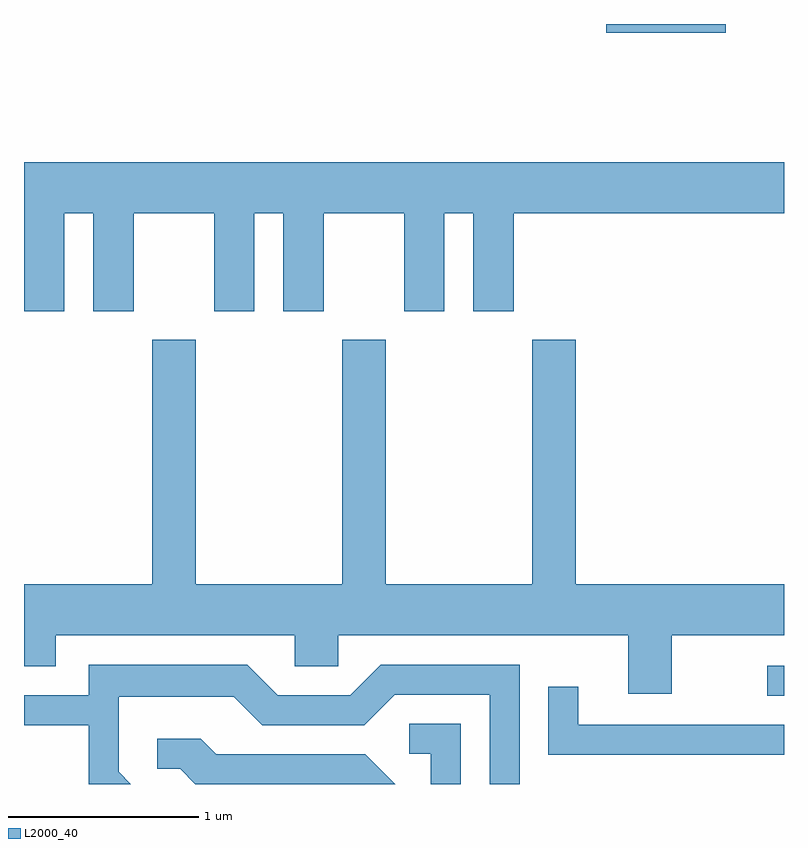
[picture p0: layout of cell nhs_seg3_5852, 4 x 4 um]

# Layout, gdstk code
import gdstk
lib = gdstk.Library(unit=1e-6, precision=1e-09)
def R(c, l, rs):  # rectangles x0, y0, x1, y1
    for r in rs: c.add(gdstk.rectangle(r[:2], r[2:], *l))
def P(c, l, *ps):  # polygons
    for p in ps: c.add(gdstk.Polygon(p, *l))
L2000_40 = (2000, 40)

nhs_seg3_5852 = lib.new_cell('nhs_seg3_5852')
R(nhs_seg3_5852, L2000_40, [(361.523,1132.356,361.611,1132.514), (360.676,1135.846,361.304,1135.892)])
P(nhs_seg3_5852, L2000_40, [(357.824,1134.896),(357.976,1134.896),(357.976,1134.381),(358.189,1134.381),(358.189,1134.896),(358.611,1134.896),(358.611,1134.381),(358.824,1134.381),(358.824,1134.896),(358.976,1134.896),(358.976,1134.381),(359.189,1134.381),(359.189,1134.896),(359.611,1134.896),(359.611,1134.381),(359.824,1134.381),(359.824,1134.896),(359.976,1134.896),(359.976,1134.381),(360.189,1134.381),(360.189,1134.896),(361.611,1134.896),(361.611,1135.164),(357.611,1135.164),(357.611,1134.381),(357.824,1134.381)],
  [(361.019,1132.676),(361.611,1132.676),(361.611,1132.944),(360.514,1132.944),(360.514,1134.229),(360.286,1134.229),(360.286,1132.944),(359.514,1132.944),(359.514,1134.229),(359.286,1134.229),(359.286,1132.944),(358.514,1132.944),(358.514,1134.229),(358.286,1134.229),(358.286,1132.944),(357.611,1132.944),(357.611,1132.511),(357.779,1132.511),(357.779,1132.676),(359.036,1132.676),(359.036,1132.511),(359.264,1132.511),(359.264,1132.676),(360.791,1132.676),(360.791,1132.366),(361.019,1132.366)],
  [(358.109,1131.957),(358.109,1132.351),(358.714,1132.351),(358.864,1132.201),(359.402,1132.201),(359.562,1132.361),(360.061,1132.361),(360.061,1131.892),(360.219,1131.892),(360.219,1132.519),(359.489,1132.519),(359.329,1132.359),(358.947,1132.359),(358.787,1132.519),(357.951,1132.519),(357.951,1132.359),(357.611,1132.359),(357.611,1132.201),(357.951,1132.201),(357.951,1131.892),(358.174,1131.892)],
  [(361.611,1132.204),(360.529,1132.204),(360.529,1132.403),(360.371,1132.403),(360.371,1132.046),(361.611,1132.046)],
  [(359.909,1132.209),(359.638,1132.209),(359.638,1132.051),(359.751,1132.051),(359.751,1131.892),(359.909,1131.892)],
  [(359.407,1132.049),(358.622,1132.049),(358.542,1132.129),(358.313,1132.129),(358.313,1131.971),(358.434,1131.971),(358.513,1131.892),(359.564,1131.892)])

lib.write_gds('nhs_seg3_5852.gds')
